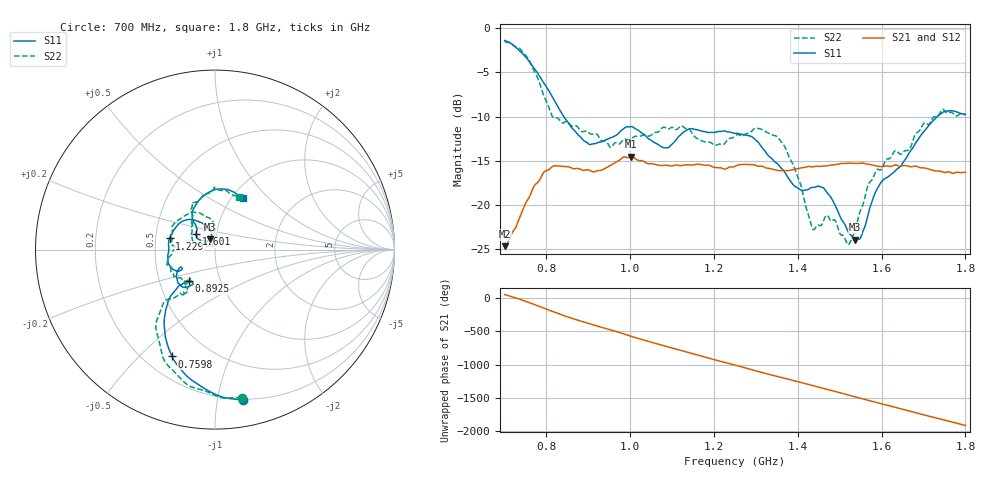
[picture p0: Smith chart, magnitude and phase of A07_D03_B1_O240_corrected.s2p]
! Created with skrf 1.9.0 (http://scikit-rf.org).
# Hz S RI R 50.0
!freq ReS11 ImS11 ReS21 ImS21 ReS12 ImS12 ReS22 ImS22
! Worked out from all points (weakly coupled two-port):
!   1601 points, 700 MHz to 1.8 GHz, reference 50 ohm
!   highest |S21| = -14.54 dB at 1.002 GHz (marker M1); lowest = -24.6 dB at 700.7 MHz (marker M2)
!   lowest |S11| = -23.9 dB at 1.536 GHz (marker M3), VSWR 1.14, Z = 47 + j5.45 ohm
!   |S11| at or under -10 dB: 841 MHz to 1.733 GHz (891.7 MHz wide, 69.3 % of centre)
!   |S22| runs from -24.5 to -1.5 dB; largest |S21 - S12| = 0.0035
!   S11 on the Smith chart (normalised r, x): 700 MHz: 0.20, -1.19; 759.8 MHz: 0.31, -0.63; 892.5 MHz: 0.71, -0.26; 1.229 GHz: 0.59, +0.08; 1.601 GHz: 0.80, +0.14; 1.8 GHz: 1.13, +0.72
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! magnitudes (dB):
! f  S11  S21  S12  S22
! 700 MHz  -1.4  -24.6  -24.4  -1.5
! 700.7 MHz  -1.4  -24.6  -24.3  -1.5
! 759.8 MHz  -3.9  -19.0  -18.9  -3.7
! 814.8 MHz  -7.8  -15.6  -15.7  -10.0
! 883.6 MHz  -12.4  -16.0  -15.9  -11.7
! 892.5 MHz  -12.8  -16.1  -16.1  -11.6
! 953 MHz  -12.4  -15.5  -15.5  -13.5
! 1.002 GHz  -11.1  -14.5  -14.6  -12.5
! 1.067 GHz  -13.2  -15.5  -15.4  -11.7
! 1.229 GHz  -11.7  -15.9  -15.8  -12.8
! 1.25 GHz  -11.9  -15.6  -15.5  -12.2
! 1.355 GHz  -15.5  -16.1  -16.0  -12.5
! 1.394 GHz  -17.9  -15.9  -15.9  -16.0
! 1.434 GHz  -18.0  -15.7  -15.6  -22.5
! 1.465 GHz  -18.3  -15.6  -15.6  -21.3
! 1.52 GHz  -22.9  -15.3  -15.3  -24.5
! 1.536 GHz  -23.9  -15.3  -15.3  -23.0
! 1.568 GHz  -20.9  -15.4  -15.4  -17.7
! 1.601 GHz  -17.3  -15.6  -15.6  -15.8
! 1.617 GHz  -16.7  -15.6  -15.6  -14.8
! 1.738 GHz  -9.8  -16.2  -16.2  -9.7
! 1.8 GHz  -9.7  -16.3  -16.3  -9.8
